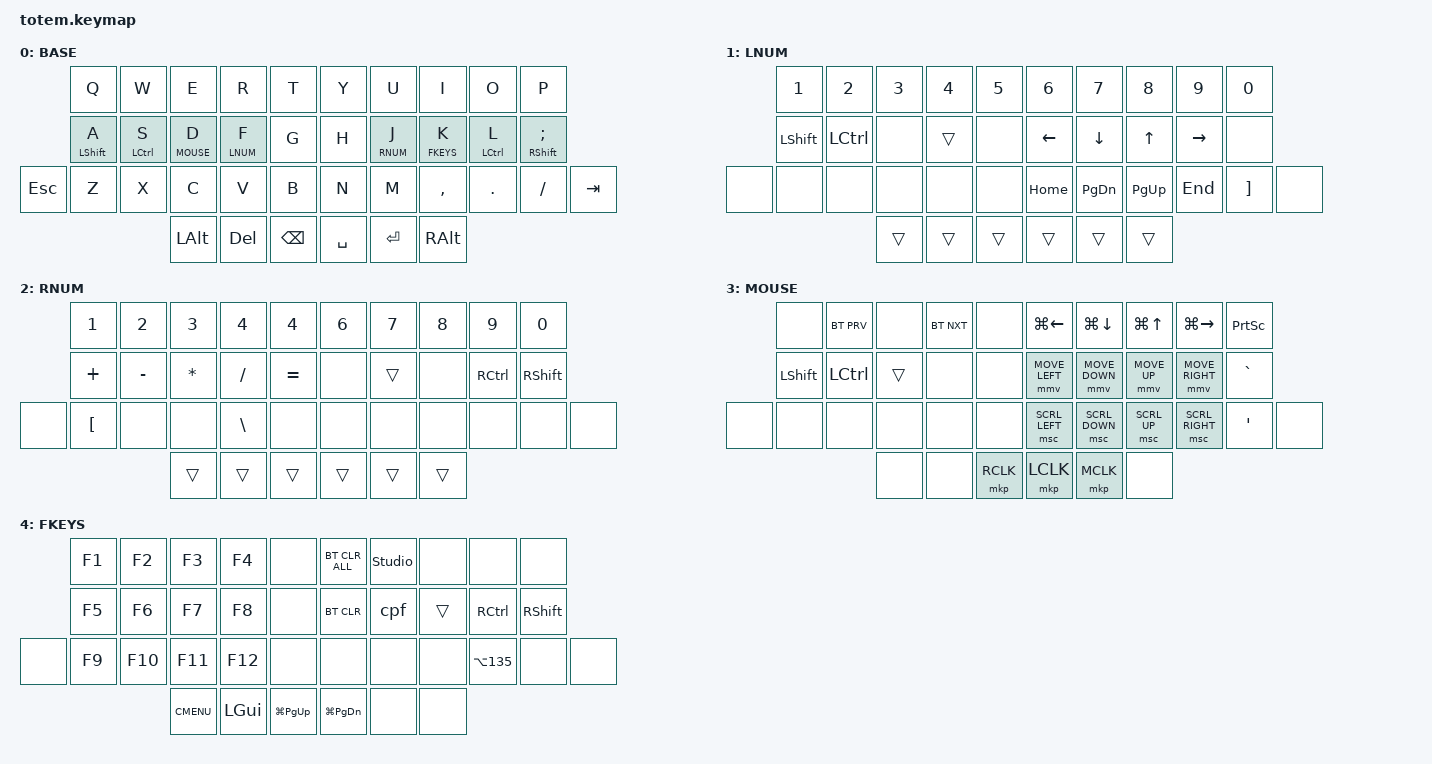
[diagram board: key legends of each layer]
#define ZMK_POINTING_DEFAULT_MOVE_VAL 600

#include <behaviors.dtsi>
#include <dt-bindings/zmk/bt.h>
#include <dt-bindings/zmk/keys.h>
#include <dt-bindings/zmk/pointing.h>

#define BASE  0
#define LNUM  1
#define RNUM  2
#define MOUSE 3
#define FKEYS 4

&mt {
    quick-tap-ms = <100>;
    global-quick-tap;
    flavor = "tap-preferred";
    tapping-term-ms = <200>;
};

&mmv {
    x-input-code = <INPUT_REL_X>;
    y-input-code = <INPUT_REL_Y>;
    time-to-max-speed-ms = <900>;
    acceleration-exponent = <1>;
};

&msc {
    x-input-code = <INPUT_REL_HWHEEL>;
    y-input-code = <INPUT_REL_WHEEL>;
    time-to-max-speed-ms = <900>;
    acceleration-exponent = <1>;
};

/ {
    macros {
        cpf: cpf {
            compatible = "zmk,behavior-macro";
            #binding-cells = <0>;
            wait-ms = <10>;
            bindings = <&macro_tap &kp N0 &kp N4 &kp N4 &kp N9 &kp N0 &kp N5 &kp N2 &kp N7 &kp N9 &kp N6 &kp N9>;
        };
    };
};

/ {
    keymap {
        compatible = "zmk,keymap";

        base_layer {
            label = "BASE";

//                     ┏━━━━━━━━━━━━━┳━━━━━━━━━━━━━┳━━━━━━━━━━━━━┳━━━━━━━━━━━━━┳━━━━━━━━━━━━━┓   ┏━━━━━━━━━━━━━┳━━━━━━━━━━━━━┳━━━━━━━━━━━━━┳━━━━━━━━━━━━━┳━━━━━━━━━━━━━┓
//                     ┃      Q      ┃      W      ┃      E      ┃      R      ┃      T      ┃   ┃      Y      ┃      U      ┃      I      ┃      O      ┃      P      ┃
//                     ┣━━━━━━━━━━━━━╋━━━━━━━━━━━━━╋━━━━━━━━━━━━━╋━━━━━━━━━━━━━╋━━━━━━━━━━━━━┫   ┣━━━━━━━━━━━━━╋━━━━━━━━━━━━━╋━━━━━━━━━━━━━╋━━━━━━━━━━━━━╋━━━━━━━━━━━━━┫
//                     ┃      A      ┃      S      ┃      D      ┃      F      ┃      G      ┃   ┃      H      ┃      J      ┃      K      ┃      L      ┃      :      ┃
//       ┏━━━━━━━━━━━━━╋━━━━━━━━━━━━━╋━━━━━━━━━━━━━╋━━━━━━━━━━━━━╋━━━━━━━━━━━━━╋━━━━━━━━━━━━━┫   ┣━━━━━━━━━━━━━╋━━━━━━━━━━━━━╋━━━━━━━━━━━━━╋━━━━━━━━━━━━━╋━━━━━━━━━━━━━╋━━━━━━━━━━━━━┓
//       ┃     ESC     ┃      Z      ┃      X      ┃      C      ┃      V      ┃      B      ┃   ┃      N      ┃      M      ┃      ,      ┃      .      ┃      /      ┃     TAB     ┃
//       ┗━━━━━━━━━━━━━┻━━━━━━━━━━━━━┻━━━━━━━━━━━━━╋━━━━━━━━━━━━━╋━━━━━━━━━━━━━╋━━━━━━━━━━━━━┫   ┣━━━━━━━━━━━━━╋━━━━━━━━━━━━━╋━━━━━━━━━━━━━╋━━━━━━━━━━━━━┻━━━━━━━━━━━━━┻━━━━━━━━━━━━━┛
//                                                 ┃    LALT     ┃     DEL     ┃    BSPC     ┃   ┃    SPACE    ┃    ENTER    ┃    BSPC     ┃
//                                                 ┗━━━━━━━━━━━━━┻━━━━━━━━━━━━━┻━━━━━━━━━━━━━┛   ┗━━━━━━━━━━━━━┻━━━━━━━━━━━━━┻━━━━━━━━━━━━━┛

            bindings = <
                        &kp Q          &kp W           &kp E          &kp R         &kp T           &kp Y         &kp U         &kp I         &kp O        &kp P
                        &mt LSHFT A    &mt LCTRL S     &lt MOUSE D    &lt LNUM F    &kp G           &kp H         &lt RNUM J    &lt FKEYS K   &mt LCTRL L  &mt RSHIFT SEMICOLON
            &kp ESC     &kp Z          &kp X           &kp C          &kp V         &kp B           &kp N         &kp M         &kp COMMA     &kp DOT      &kp FSLH       &kp TAB
                                                       &kp LALT       &kp DEL       &kp BSPC        &kp SPACE     &kp ENTER     &kp RALT
            >;
        };

        //        bindings = <
        //            &kp Q  &kp W  &kp E     &kp R  &kp T    &kp Y      &kp U            &kp I          &kp O    &kp P
        //            &kp A  &kp S  &kp D     &kp F  &kp G    &kp H      &kp J            &kp K          &kp L    &kp SEMI
        //  &kp LCTRL  &kp Z  &kp X  &kp C     &kp V  &kp B    &kp N      &kp M            &kp COMMA      &kp DOT  &kp FSLH  &kp APOS
        //                          &kp LGUI  &mo 2  &mo 1    &kp SPACE  &kp RIGHT_SHIFT  &kp RIGHT_ALT
        //        >;

        lnum_layer {
            label = "LNUM";

//                     ┏━━━━━━━━━━━━━┳━━━━━━━━━━━━━┳━━━━━━━━━━━━━┳━━━━━━━━━━━━━┳━━━━━━━━━━━━━┓   ┏━━━━━━━━━━━━━┳━━━━━━━━━━━━━┳━━━━━━━━━━━━━┳━━━━━━━━━━━━━┳━━━━━━━━━━━━━┓
//                     ┃      1      ┃      2      ┃      3      ┃      4      ┃      5      ┃   ┃      6      ┃      7      ┃      8      ┃      9      ┃      0      ┃
//                     ┣━━━━━━━━━━━━━╋━━━━━━━━━━━━━╋━━━━━━━━━━━━━╋━━━━━━━━━━━━━╋━━━━━━━━━━━━━┫   ┣━━━━━━━━━━━━━╋━━━━━━━━━━━━━╋━━━━━━━━━━━━━╋━━━━━━━━━━━━━╋━━━━━━━━━━━━━┫
//                     ┃   LSHIFT    ┃   LCTRL     ┃             ┃  <PRESSED>  ┃             ┃   ┃    RIGHT    ┃    DOWN     ┃      UP     ┃     LEFT    ┃             ┃
//       ┏━━━━━━━━━━━━━╋━━━━━━━━━━━━━╋━━━━━━━━━━━━━╋━━━━━━━━━━━━━╋━━━━━━━━━━━━━╋━━━━━━━━━━━━━┫   ┣━━━━━━━━━━━━━╋━━━━━━━━━━━━━╋━━━━━━━━━━━━━╋━━━━━━━━━━━━━╋━━━━━━━━━━━━━╋━━━━━━━━━━━━━┓
//       ┃             ┃             ┃             ┃             ┃             ┃             ┃   ┃    HOME     ┃    PG_DN    ┃    PG_UP    ┃     END     ┃      ]}     ┃             ┃
//       ┗━━━━━━━━━━━━━┻━━━━━━━━━━━━━┻━━━━━━━━━━━━━╋━━━━━━━━━━━━━╋━━━━━━━━━━━━━╋━━━━━━━━━━━━━┫   ┣━━━━━━━━━━━━━╋━━━━━━━━━━━━━╋━━━━━━━━━━━━━╋━━━━━━━━━━━━━┻━━━━━━━━━━━━━┻━━━━━━━━━━━━━┛
//                                                 ┃    LALT     ┃     DEL     ┃    BSPC     ┃   ┃    SPACE    ┃    ENTER    ┃     RALT    ┃
//                                                 ┗━━━━━━━━━━━━━┻━━━━━━━━━━━━━┻━━━━━━━━━━━━━┛   ┗━━━━━━━━━━━━━┻━━━━━━━━━━━━━┻━━━━━━━━━━━━━┛

            bindings = <
                          &kp N1         &kp N2      &kp N3         &kp N4         &kp N5           &kp N6        &kp N7        &kp N8        &kp N9        &kp N0
                          &kp LSHFT      &kp LCTRL   &none          &trans         &none            &kp LEFT      &kp DOWN      &kp UP        &kp RIGHT     &none
              &none       &none          &none       &none          &none          &none            &kp HOME      &kp PG_DN     &kp PG_UP     &kp END       &kp RBKT       &none
                                                     &trans         &trans         &trans           &trans        &trans        &trans 
            >;
        };

        //        bindings = <
        //                     &kp LA(BACKSPACE)   &kp BACKSPACE  &kp UP     &kp DELETE     &kp LA(DELETE)        &kp N5      &kp N6           &kp N7       &kp N8    &kp N9
        //                     &kp LA(LEFT_ARROW)  &kp LEFT       &kp DOWN   &kp RIGHT      &kp LA(RIGHT)         &kp N0      &kp N1           &kp N2       &kp N3    &kp N4
        //  &kp LG(BACKSPACE)  &kp LG(UP_ARROW)    &kp LG(LEFT)   &kp ENTER  &kp LG(RIGHT)  &kp LG(DOWN_ARROW)    &kp PERIOD  &kp PLUS         &kp MINUS    &kp STAR  &kp FSLH  &kp CARET
        //                                                        &trans     &trans         &trans                &kp EQUAL   &kp RIGHT_SHIFT  &kp PERCENT
        //        >;

        rnum_layer {
            label = "RNUM";

//                     ┏━━━━━━━━━━━━━┳━━━━━━━━━━━━━┳━━━━━━━━━━━━━┳━━━━━━━━━━━━━┳━━━━━━━━━━━━━┓   ┏━━━━━━━━━━━━━┳━━━━━━━━━━━━━┳━━━━━━━━━━━━━┳━━━━━━━━━━━━━┳━━━━━━━━━━━━━┓
//                     ┃      1      ┃      2      ┃      3      ┃      4      ┃      5      ┃   ┃      6      ┃      7      ┃      8      ┃      9      ┃      0      ┃
//                     ┣━━━━━━━━━━━━━╋━━━━━━━━━━━━━╋━━━━━━━━━━━━━╋━━━━━━━━━━━━━╋━━━━━━━━━━━━━┫   ┣━━━━━━━━━━━━━╋━━━━━━━━━━━━━╋━━━━━━━━━━━━━╋━━━━━━━━━━━━━╋━━━━━━━━━━━━━┫
//                     ┃      +      ┃      -      ┃      *      ┃      /      ┃      =      ┃   ┃             ┃  <PRESSED>  ┃             ┃    RCTRL    ┃   RSHIFT    ┃
//       ┏━━━━━━━━━━━━━╋━━━━━━━━━━━━━╋━━━━━━━━━━━━━╋━━━━━━━━━━━━━╋━━━━━━━━━━━━━╋━━━━━━━━━━━━━┫   ┣━━━━━━━━━━━━━╋━━━━━━━━━━━━━╋━━━━━━━━━━━━━╋━━━━━━━━━━━━━╋━━━━━━━━━━━━━╋━━━━━━━━━━━━━┓
//       ┃             ┃     {[      ┃             ┃             ┃      \      ┃             ┃   ┃             ┃             ┃             ┃             ┃             ┃             ┃
//       ┗━━━━━━━━━━━━━┻━━━━━━━━━━━━━┻━━━━━━━━━━━━━╋━━━━━━━━━━━━━╋━━━━━━━━━━━━━╋━━━━━━━━━━━━━┫   ┣━━━━━━━━━━━━━╋━━━━━━━━━━━━━╋━━━━━━━━━━━━━╋━━━━━━━━━━━━━┻━━━━━━━━━━━━━┻━━━━━━━━━━━━━┛
//                                                 ┃    LALT     ┃     DEL     ┃    BSPC     ┃   ┃    SPACE    ┃    ENTER    ┃     RALT    ┃
//                                                 ┗━━━━━━━━━━━━━┻━━━━━━━━━━━━━┻━━━━━━━━━━━━━┛   ┗━━━━━━━━━━━━━┻━━━━━━━━━━━━━┻━━━━━━━━━━━━━┛

            bindings = <
                          &kp N1        &kp N2        &kp N3        &kp N4        &kp N4            &kp N6        &kp N7        &kp N8        &kp N9        &kp N0
                          &kp PLUS      &kp MINUS     &kp STAR      &kp FSLH      &kp EQUAL         &none         &trans        &none         &kp RCTRL     &kp RSHFT
              &none       &kp LBKT      &none         &none         &kp BSLH      &none             &none         &none         &none         &none         &none          &none
                                                      &trans        &trans        &trans            &trans        &trans        &trans
            >;
        };

        //        bindings = <
        //             &kp ESC        &kp LEFT_BRACE        &kp RIGHT_BRACE        &none             &none             &kp F1   &kp F2           &kp F3   &kp F4   &kp F5
        //             &kp TAB        &kp LBKT              &kp RBKT               &kp ENTER         &kp BSLH          &kp F6   &kp F7           &kp F8   &kp F9   &kp F10
        //  &kp GRAVE  &kp LESS_THAN  &kp LEFT_PARENTHESIS  &kp RIGHT_PARENTHESIS  &kp GREATER_THAN  &kp UNDERSCORE    &kp F11  &kp F12          &kp F13  &kp F14  &kp F15  &kp F16
        //                                                  &trans                 &trans            &trans            &none    &kp RIGHT_SHIFT  &none
        //        >;

        mouse_layer {
            label = "MOUSE";

  //                     ┏━━━━━━━━━━━━━┳━━━━━━━━━━━━━┳━━━━━━━━━━━━━┳━━━━━━━━━━━━━┳━━━━━━━━━━━━━┓   ┏━━━━━━━━━━━━━┳━━━━━━━━━━━━━┳━━━━━━━━━━━━━┳━━━━━━━━━━━━━┳━━━━━━━━━━━━━━┓
  //                     ┃             ┃   BT_PRV    ┃             ┃   BT_NXT    ┃             ┃   ┃  SCRN_LEFT  ┃  SCRL_DOWN  ┃   SCRN_UP   ┃  SCRN_RIGHT ┃  PRINT_SCR   ┃
  //                     ┣━━━━━━━━━━━━━╋━━━━━━━━━━━━━╋━━━━━━━━━━━━━╋━━━━━━━━━━━━━╋━━━━━━━━━━━━━┫   ┣━━━━━━━━━━━━━╋━━━━━━━━━━━━━╋━━━━━━━━━━━━━╋━━━━━━━━━━━━━╋━━━━━━━━━━━━━━┫
  //                     ┃             ┃             ┃  <PRESSED>  ┃             ┃             ┃   ┃  MOVE_LEFT  ┃  MOVE_DOWN  ┃   MOVE_UP   ┃  MOVE_RIGHT ┃              ┃
  //       ┏━━━━━━━━━━━━━╋━━━━━━━━━━━━━╋━━━━━━━━━━━━━╋━━━━━━━━━━━━━╋━━━━━━━━━━━━━╋━━━━━━━━━━━━━┫   ┣━━━━━━━━━━━━━╋━━━━━━━━━━━━━╋━━━━━━━━━━━━━╋━━━━━━━━━━━━━╋━━━━━━━━━━━━━━╋━━━━━━━━━━━━━┓
  //       ┃             ┃             ┃             ┃             ┃             ┃             ┃   ┃  SCRL_LEFT  ┃  SCRL_DOWN  ┃   SCRL_UP   ┃  SCRL_RIGHT ┃ SINGLE_QUOTE ┃             ┃
  //       ┗━━━━━━━━━━━━━┻━━━━━━━━━━━━━┻━━━━━━━━━━━━━╋━━━━━━━━━━━━━╋━━━━━━━━━━━━━╋━━━━━━━━━━━━━┫   ┣━━━━━━━━━━━━━╋━━━━━━━━━━━━━╋━━━━━━━━━━━━━╋━━━━━━━━━━━━━┻━━━━━━━━━━━━━━┻━━━━━━━━━━━━━┛
  //                                                 ┃             ┃             ┃    LCLK     ┃   ┃    RCLK     ┃    MCLK     ┃             ┃
  //                                                 ┗━━━━━━━━━━━━━┻━━━━━━━━━━━━━┻━━━━━━━━━━━━━┛   ┗━━━━━━━━━━━━━┻━━━━━━━━━━━━━┻━━━━━━━━━━━━━┛

            bindings = <
                            &none        &bt BT_PRV    &none         &bt BT_NXT    &none             &kp LG(LEFT)   &kp LG(DOWN)   &kp LG(UP)   &kp LG(RIGHT)   &kp PSCRN
                            &kp LSHFT    &kp LCTRL     &trans        &none         &none             &mmv MOVE_LEFT &mmv MOVE_DOWN &mmv MOVE_UP &mmv MOVE_RIGHT &kp GRAVE
              &none         &none        &none         &none         &none         &none             &msc SCRL_LEFT &msc SCRL_DOWN &msc SCRL_UP &msc SCRL_RIGHT &kp SINGLE_QUOTE &none
                                                       &none         &none         &mkp RCLK         &mkp LCLK      &mkp MCLK      &none
            >;
        };

        //        bindings = <
        //         &none       &kp C_BRIGHTNESS_DEC  &kp C_BRIGHTNESS_INC  &none             &none    &bt BT_SEL 0  &bt BT_SEL 1  &bt BT_SEL 2  &bt BT_SEL 3  &bt BT_SEL 4
        //         &kp K_MUTE  &kp C_VOLUME_DOWN     &kp C_VOLUME_UP       &kp C_PLAY_PAUSE  &none    &none         &none         &none         &none         &none
        //  &none  &none       &none                 &none                 &none             &none    &none         &none         &none         &none         &none         &bt BT_CLR
        //                                           &none                 &none             &none    &none         &none         &none
        //        >;

        fkeys_layer {
            label = "FKEYS";

  //                     ┏━━━━━━━━━━━━━┳━━━━━━━━━━━━━┳━━━━━━━━━━━━━┳━━━━━━━━━━━━━┳━━━━━━━━━━━━━┓   ┏━━━━━━━━━━━━━┳━━━━━━━━━━━━━┳━━━━━━━━━━━━━┳━━━━━━━━━━━━━┳━━━━━━━━━━━━━┓
  //                     ┃     F1      ┃     F2      ┃     F3      ┃     F4      ┃             ┃   ┃ BT_CLR_ALL  ┃ STUDIO UNLK ┃             ┃             ┃             ┃
  //                     ┣━━━━━━━━━━━━━╋━━━━━━━━━━━━━╋━━━━━━━━━━━━━╋━━━━━━━━━━━━━╋━━━━━━━━━━━━━┫   ┣━━━━━━━━━━━━━╋━━━━━━━━━━━━━╋━━━━━━━━━━━━━╋━━━━━━━━━━━━━╋━━━━━━━━━━━━━┫
  //                     ┃     F5      ┃     F6      ┃     F7      ┃     F8      ┃             ┃   ┃   BT_CLR    ┃   <<CPF>>   ┃  <PRESSED>  ┃             ┃             ┃
  //       ┏━━━━━━━━━━━━━╋━━━━━━━━━━━━━╋━━━━━━━━━━━━━╋━━━━━━━━━━━━━╋━━━━━━━━━━━━━╋━━━━━━━━━━━━━┫   ┣━━━━━━━━━━━━━╋━━━━━━━━━━━━━╋━━━━━━━━━━━━━╋━━━━━━━━━━━━━╋━━━━━━━━━━━━━╋━━━━━━━━━━━━━┓
  //       ┃   BT_PRV    ┃     F9      ┃     F10     ┃     F11     ┃     F12     ┃             ┃   ┃             ┃             ┃             ┃      Ç      ┃             ┃             ┃
  //       ┗━━━━━━━━━━━━━┻━━━━━━━━━━━━━┻━━━━━━━━━━━━━╋━━━━━━━━━━━━━╋━━━━━━━━━━━━━╋━━━━━━━━━━━━━┫   ┣━━━━━━━━━━━━━╋━━━━━━━━━━━━━╋━━━━━━━━━━━━━╋━━━━━━━━━━━━━┻━━━━━━━━━━━━━┻━━━━━━━━━━━━━┛
  //                                                 ┃             ┃             ┃             ┃   ┃             ┃             ┃             ┃
  //                                                 ┗━━━━━━━━━━━━━┻━━━━━━━━━━━━━┻━━━━━━━━━━━━━┛   ┗━━━━━━━━━━━━━┻━━━━━━━━━━━━━┻━━━━━━━━━━━━━┛

            bindings = <
                            &kp F1        &kp F2        &kp F3        &kp F4       &none            &bt BT_CLR_ALL &studio_unlock  &none        &none         &none
                            &kp F5        &kp F6        &kp F7        &kp F8       &none            &bt BT_CLR        &cpf         &trans       &kp RCTRL     &kp RSHFT
              &none         &kp F9        &kp F10       &kp F11       &kp F12      &none            &none             &none        &none        &kp LA(135)   &none          &none
                                                        &kp K_CMENU   &kp LEFT_GUI &kp LG(PAGE_UP)  &kp LG(PAGE_DOWN) &none        &none
            >;
        };
    };
};
